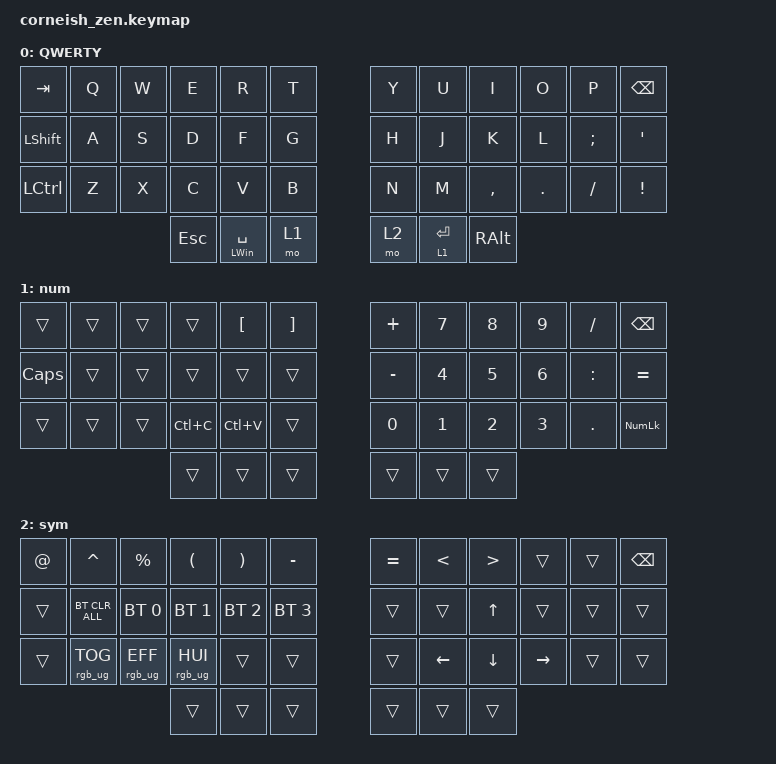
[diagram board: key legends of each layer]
/*
 * Copyright (c) 2020 The ZMK Contributors
 *
 * SPDX-License-Identifier: MIT
 */

#include <behaviors.dtsi>
#include <dt-bindings/zmk/bt.h>
#include <dt-bindings/zmk/keys.h>
#include <dt-bindings/zmk/outputs.h>
#include <dt-bindings/zmk/rgb.h>

/ {
    chosen {
        zmk,matrix_transform = &default_transform;

        // zmk,matrix_transform = &five_column_transform;
    };
};

/ {
    behaviors {
        td0: td0 {
            compatible = "zmk,behavior-tap-dance";
            label = "TD0";
            #binding-cells = <0>;
            bindings = <&kp LEFT_SHIFT>, <&kp CAPS>;
        };
    };

    keymap {
        compatible = "zmk,keymap";

        layer_0 {
            display-name = "QWERTY";

            // --------------------------------------------------------------------------------
            // |  TAB |  Q  |  W  |  E  |  R  |  T  |   |  Y  |  U   |  I  |  O  |  P  | BKSP |
            // | CTRL |  A  |  S  |  D  |  F  |  G  |   |  H  |  J   |  K  |  L  |  ;  |  '   | 
            // | SHFT |  Z  |  X  |  C  |  V  |  B  |   |  N  |  M   |  ,  |  .  |  /  | ESC  |
            //                    | GUI | LWR | SPC |   | ENT | RSE  | ALT |

            bindings = <
&kp TAB           &kp Q  &kp W  &kp E    &kp R               &kp T    &kp Y  &kp U        &kp I      &kp O    &kp P     &kp BSPC
&kp LEFT_SHIFT    &kp A  &kp S  &kp D    &kp F               &kp G    &kp H  &kp J        &kp K      &kp L    &kp SEMI  &kp SQT
&kp LEFT_CONTROL  &kp Z  &kp X  &kp C    &kp V               &kp B    &kp N  &kp M        &kp COMMA  &kp DOT  &kp FSLH  &kp EXCLAMATION
                                &kp ESC  &mt LEFT_WIN SPACE  &mo 1    &mo 2  &lt 1 ENTER  &kp RALT
            >;
        };

        layer_1 {
            bindings = <
&trans    &trans  &trans  &trans     &kp LBKT   &kp RBKT    &kp PLUS   &kp N7  &kp N8  &kp N9  &kp FSLH   &kp BSPC
&kp CAPS  &trans  &trans  &trans     &trans     &trans      &kp MINUS  &kp N4  &kp N5  &kp N6  &kp COLON  &kp EQUAL
&trans    &trans  &trans  &kp LC(C)  &kp LC(V)  &trans      &kp N0     &kp N1  &kp N2  &kp N3  &kp DOT    &kp KP_NUMLOCK
                          &trans     &trans     &trans      &trans     &trans  &trans
            >;

            label = "num";
        };

        layer_2 {
            bindings = <
&kp AT_SIGN  &kp CARET        &kp PERCENT      &kp LEFT_PARENTHESIS  &kp RIGHT_PARENTHESIS  &kp MINUS       &kp EQUAL  &kp LESS_THAN   &kp GREATER_THAN  &trans           &trans  &kp BSPC
&trans       &bt BT_CLR_ALL   &bt BT_SEL 0     &bt BT_SEL 1          &bt BT_SEL 2           &bt BT_SEL 3    &trans     &trans          &kp UP_ARROW      &trans           &trans  &trans
&trans       &rgb_ug RGB_TOG  &rgb_ug RGB_EFF  &rgb_ug RGB_HUI       &trans                 &trans          &trans     &kp LEFT_ARROW  &kp DOWN_ARROW    &kp RIGHT_ARROW  &trans  &trans
                                               &trans                &trans                 &trans          &trans     &trans          &trans
            >;

            label = "sym";
        };
    };
};
